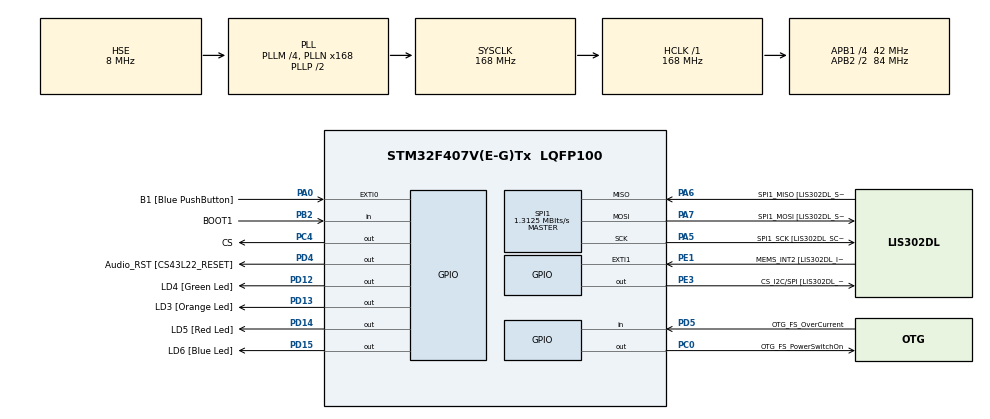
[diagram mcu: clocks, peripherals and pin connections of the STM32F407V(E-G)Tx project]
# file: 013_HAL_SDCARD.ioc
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FATFS._MAX_SS=4096
FATFS._USE_LFN=1
Mcu.Family=STM32F4
Mcu.Name=STM32F407V(E-G)Tx
Mcu.Package=LQFP100
NVIC.PriorityGroup=NVIC_PRIORITYGROUP_0
PA0-WKUP.GPIO_Label=B1 [Blue PushButton]
PA0-WKUP.Signal=GPXTI0
PA10.GPIO_Label=OTG_FS_ID
PA10.GPIO_Mode=GPIO_MODE_AF_PP
PA10.GPIO_PuPd=GPIO_NOPULL
PA10.GPIO_Speed=GPIO_SPEED_FREQ_LOW
PA10.Signal=USB_OTG_FS_ID
PA11.GPIO_Label=OTG_FS_DM
PA11.GPIO_Mode=GPIO_MODE_AF_PP
PA11.GPIO_PuPd=GPIO_NOPULL
PA11.GPIO_Speed=GPIO_SPEED_FREQ_LOW
PA11.Signal=USB_OTG_FS_DM
PA12.GPIO_Label=OTG_FS_DP
PA12.GPIO_Mode=GPIO_MODE_AF_PP
PA12.GPIO_PuPd=GPIO_NOPULL
PA12.GPIO_Speed=GPIO_SPEED_FREQ_LOW
PA12.Signal=USB_OTG_FS_DP
PA13.GPIO_Label=SWDIO
PA13.Mode=Serial_Wire
PA13.Signal=SYS_JTMS-SWDIO
PA14.GPIO_Label=SWCLK
PA14.Mode=Serial_Wire
PA14.Signal=SYS_JTCK-SWCLK
PA4.GPIO_Label=I2S3_WS [CS43L22_LRCK]
PA4.GPIO_Mode=GPIO_MODE_AF_PP
PA4.GPIO_PuPd=GPIO_NOPULL
PA4.GPIO_Speed=GPIO_SPEED_FREQ_LOW
PA4.Signal=I2S3_WS
PA5.GPIO_Label=SPI1_SCK [LIS302DL_SCL/SPC]
PA5.GPIO_Mode=GPIO_MODE_AF_PP
PA5.GPIO_PuPd=GPIO_NOPULL
PA5.GPIO_Speed=GPIO_SPEED_FREQ_LOW
PA5.Mode=Full_Duplex_Master
PA5.Signal=SPI1_SCK
PA6.GPIO_Label=SPI1_MISO [LIS302DL_SDO]
PA6.GPIO_Mode=GPIO_MODE_AF_PP
PA6.GPIO_PuPd=GPIO_NOPULL
PA6.GPIO_Speed=GPIO_SPEED_FREQ_LOW
PA6.Mode=Full_Duplex_Master
PA6.Signal=SPI1_MISO
PA7.GPIO_Label=SPI1_MOSI [LIS302DL_SDA/SDI/SDO]
PA7.GPIO_Mode=GPIO_MODE_AF_PP
PA7.GPIO_PuPd=GPIO_NOPULL
PA7.GPIO_Speed=GPIO_SPEED_FREQ_LOW
PA7.Mode=Full_Duplex_Master
PA7.Signal=SPI1_MOSI
PA9.GPIO_Label=VBUS_FS
PA9.GPIO_Mode=GPIO_MODE_INPUT
PA9.GPIO_PuPd=GPIO_NOPULL
PA9.Signal=USB_OTG_FS_VBUS
PB10.GPIO_Label=CLK_IN [MP45DT02_CLK]
PB10.GPIO_Mode=GPIO_MODE_AF_PP
PB10.GPIO_PuPd=GPIO_NOPULL
PB10.GPIO_Speed=GPIO_SPEED_FREQ_LOW
PB10.Signal=I2S2_CK
PB2.GPIO_Label=BOOT1
PB2.GPIO_Mode=GPIO_MODE_INPUT
PB2.GPIO_PuPd=GPIO_NOPULL
PB2.Signal=GPIO_Input
PB3.GPIO_Label=SWO
PB3.Signal=SYS_JTDO-SWO
PB6.GPIO_Label=Audio_SCL [CS43L22_SCL]
PB6.GPIO_Mode=GPIO_MODE_AF_OD
PB6.GPIO_PuPd=GPIO_NOPULL
PB6.GPIO_Speed=GPIO_SPEED_FREQ_LOW
PB6.Signal=I2C1_SCL
PB9.GPIO_Label=Audio_SDA [CS43L22_SDA]
PB9.GPIO_Mode=GPIO_MODE_AF_OD
PB9.GPIO_PuPd=GPIO_NOPULL
PB9.GPIO_Speed=GPIO_SPEED_FREQ_LOW
PB9.Signal=I2C1_SDA
PC0.GPIO_Label=OTG_FS_PowerSwitchOn
PC0.GPIO_PuPd=GPIO_NOPULL
PC0.GPIO_Speed=GPIO_SPEED_FREQ_LOW
PC0.PinState=GPIO_PIN_SET
PC0.Signal=GPIO_Output
PC10.GPIO_Label=I2S3_SCK [CS43L22_SCLK]
PC10.GPIO_Mode=GPIO_MODE_AF_PP
PC10.GPIO_PuPd=GPIO_NOPULL
PC10.GPIO_Speed=GPIO_SPEED_FREQ_LOW
PC10.Signal=I2S3_CK
PC12.GPIO_Label=I2S3_SD [CS43L22_SDIN]
PC12.GPIO_Mode=GPIO_MODE_AF_PP
PC12.GPIO_PuPd=GPIO_NOPULL
PC12.GPIO_Speed=GPIO_SPEED_FREQ_LOW
PC12.Signal=I2S3_SD
PC14-OSC32_IN.GPIO_Label=PC14-OSC32_IN
PC14-OSC32_IN.Signal=RCC_OSC32_IN
PC15-OSC32_OUT.GPIO_Label=PC15-OSC32_OUT
PC15-OSC32_OUT.Signal=RCC_OSC32_OUT
PC3.GPIO_Label=PDM_OUT [MP45DT02_DOUT]
PC3.GPIO_Mode=GPIO_MODE_AF_PP
PC3.GPIO_PuPd=GPIO_NOPULL
PC3.GPIO_Speed=GPIO_SPEED_FREQ_LOW
PC3.Signal=I2S2_SD
PC4.GPIO_Label=CS
PC4.Signal=GPIO_Output
PC7.GPIO_Label=I2S3_MCK [CS43L22_MCLK]
PC7.GPIO_Mode=GPIO_MODE_AF_PP
PC7.GPIO_PuPd=GPIO_NOPULL
PC7.GPIO_Speed=GPIO_SPEED_FREQ_LOW
PC7.Signal=I2S3_MCK
PD12.GPIO_Label=LD4 [Green Led]
PD12.GPIO_PuPd=GPIO_NOPULL
PD12.GPIO_Speed=GPIO_SPEED_FREQ_LOW
PD12.Signal=GPIO_Output
PD13.GPIO_Label=LD3 [Orange Led]
PD13.GPIO_PuPd=GPIO_NOPULL
PD13.GPIO_Speed=GPIO_SPEED_FREQ_LOW
PD13.Signal=GPIO_Output
PD14.GPIO_Label=LD5 [Red Led]
PD14.GPIO_PuPd=GPIO_NOPULL
PD14.GPIO_Speed=GPIO_SPEED_FREQ_LOW
PD14.Signal=GPIO_Output
PD15.GPIO_Label=LD6 [Blue Led]
PD15.GPIO_PuPd=GPIO_NOPULL
PD15.GPIO_Speed=GPIO_SPEED_FREQ_LOW
PD15.Signal=GPIO_Output
PD4.GPIO_Label=Audio_RST [CS43L22_RESET]
PD4.GPIO_PuPd=GPIO_NOPULL
PD4.GPIO_Speed=GPIO_SPEED_FREQ_LOW
PD4.Signal=GPIO_Output
PD5.GPIO_Label=OTG_FS_OverCurrent
PD5.GPIO_Mode=GPIO_MODE_INPUT
PD5.GPIO_PuPd=GPIO_NOPULL
PD5.Signal=GPIO_Input
PE1.GPIO_Label=MEMS_INT2 [LIS302DL_INT2]
PE1.GPIO_ModeDefaultEXTI=GPIO_MODE_EVT_RISING
PE1.GPIO_PuPd=GPIO_NOPULL
PE1.Signal=GPXTI1
PE3.GPIO_Label=CS_I2C/SPI [LIS302DL_CS_I2C/SPI]
PE3.GPIO_PuPd=GPIO_NOPULL
PE3.GPIO_Speed=GPIO_SPEED_FREQ_LOW
PE3.Signal=GPIO_Output
PH0-OSC_IN.GPIO_Label=PH0-OSC_IN
PH0-OSC_IN.Mode=HSE-External-Oscillator
PH0-OSC_IN.Signal=RCC_OSC_IN
PH1-OSC_OUT.GPIO_Label=PH1-OSC_OUT
PH1-OSC_OUT.Mode=HSE-External-Oscillator
PH1-OSC_OUT.Signal=RCC_OSC_OUT
ProjectManager.HeapSize=0x200
ProjectManager.StackSize=0x400
ProjectManager.TargetToolchain=STM32CubeIDE
RCC.48MHZClocksFreq_Value=48000000
RCC.AHBFreq_Value=168000000
RCC.APB1CLKDivider=RCC_HCLK_DIV4
RCC.APB1Freq_Value=42000000
RCC.APB1TimFreq_Value=84000000
RCC.APB2CLKDivider=RCC_HCLK_DIV2
RCC.APB2Freq_Value=84000000
RCC.APB2TimFreq_Value=168000000
RCC.CortexFreq_Value=168000000
RCC.HCLKFreq_Value=168000000
RCC.HSE_VALUE=8000000
RCC.HSI_VALUE=16000000
RCC.LSE_VALUE=32768
RCC.PLLM=4
RCC.PLLN=168
RCC.PLLQ=7
RCC.PLLSourceVirtual=RCC_PLLSOURCE_HSE
RCC.SYSCLKFreq_VALUE=168000000
RCC.SYSCLKSource=RCC_SYSCLKSOURCE_PLLCLK
RCC.VCOOutputFreq_Value=336000000
SPI1.BaudRatePrescaler=SPI_BAUDRATEPRESCALER_64
SPI1.CalculateBaudRate=1.3125 MBits/s
SPI1.Direction=SPI_DIRECTION_2LINES
SPI1.Mode=SPI_MODE_MASTER
SPI1.VirtualType=VM_MASTER
VP_FATFS_VS_Generic.Mode=User_defined
board=STM32F407G-DISC1

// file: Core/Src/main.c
/* USER CODE BEGIN Header */
/**
  ******************************************************************************
  * @file           : main.c
  * @brief          : Main program body
  ******************************************************************************
  * @attention
  *
  * Copyright (c) 2024 STMicroelectronics.
  * All rights reserved.
  *
  * This software is licensed under terms that can be found in the LICENSE file
  * in the root directory of this software component.
  * If no LICENSE file comes with this software, it is provided AS-IS.
  *
  ******************************************************************************
  */
/* USER CODE END Header */
#include "main.h"
#include "fatfs.h"

/* USER CODE BEGIN Includes */
#include "fatfs_sd.h"
#include "string.h"
/* USER CODE END Includes */

SPI_HandleTypeDef hspi1;

/* USER CODE BEGIN PV */
FATFS fs; //File system
FIL file; //File name
FRESULT fresult;
char buffer[1024];//data storage

UINT br,bw;

FATFS *pfs;
DWORD fre_clust;
uint32_t total,free_Space;

/* USER CODE END PV */

void SystemClock_Config(void);
static void MX_GPIO_Init(void);
static void MX_SPI1_Init(void);

/* USER CODE BEGIN 0 */
int bufferSize(char* buff)
{
	int i=0;
	while(*buff++ != '\0')
		i++;

	return i;
}

void bufferClear(void)
{
	for(int i =0;i<1024;i++)
	buffer[i]='\0';
}
/* USER CODE END 0 */

int main(void)
{

  /* MCU Configuration--------------------------------------------------------*/

  /* Reset of all peripherals, Initializes the Flash interface and the Systick. */
  HAL_Init();

  /* Configure the system clock */
  SystemClock_Config();

  /* Initialize all configured peripherals */
  MX_GPIO_Init();
  MX_SPI1_Init();
  MX_FATFS_Init();
  /* USER CODE BEGIN 2 */
  fResult = f_mount(&fs, "", 0);

  f_getfree("", &fre_clust, &pfs);

  total = (uint32_t)((pfs->n_fatent -2) * pfs->csize * 0.5);

  free_Space = (uint32_t)(fre_clust * pfs->csize * 0.5);

  fresult = f_open(&file, "firstfile.txt", FA_CREATE_ALWAYS | FA_WRITE | FA_READ);

  f_putc("This is a txt record attempt", &file);

  fresult = f_close(&file);
  /* USER CODE END 2 */

  /* Infinite loop */
  while (1)
  {

  }
}

void SystemClock_Config(void)
{
  RCC_OscInitTypeDef RCC_OscInitStruct = {0};
  RCC_ClkInitTypeDef RCC_ClkInitStruct = {0};

  /** Configure the main internal regulator output voltage
  */
  __HAL_RCC_PWR_CLK_ENABLE();
  __HAL_PWR_VOLTAGESCALING_CONFIG(PWR_REGULATOR_VOLTAGE_SCALE1);

  /** Initializes the RCC Oscillators according to the specified parameters
  * in the RCC_OscInitTypeDef structure.
  */
  RCC_OscInitStruct.OscillatorType = RCC_OSCILLATORTYPE_HSE;
  RCC_OscInitStruct.HSEState = RCC_HSE_ON;
  RCC_OscInitStruct.PLL.PLLState = RCC_PLL_ON;
  RCC_OscInitStruct.PLL.PLLSource = RCC_PLLSOURCE_HSE;
  RCC_OscInitStruct.PLL.PLLM = 4;
  RCC_OscInitStruct.PLL.PLLN = 168;
  RCC_OscInitStruct.PLL.PLLP = RCC_PLLP_DIV2;
  RCC_OscInitStruct.PLL.PLLQ = 7;
  if (HAL_RCC_OscConfig(&RCC_OscInitStruct) != HAL_OK)
  {
    Error_Handler();
  }

  /** Initializes the CPU, AHB and APB buses clocks
  */
  RCC_ClkInitStruct.ClockType = RCC_CLOCKTYPE_HCLK|RCC_CLOCKTYPE_SYSCLK
                              |RCC_CLOCKTYPE_PCLK1|RCC_CLOCKTYPE_PCLK2;
  RCC_ClkInitStruct.SYSCLKSource = RCC_SYSCLKSOURCE_PLLCLK;
  RCC_ClkInitStruct.AHBCLKDivider = RCC_SYSCLK_DIV1;
  RCC_ClkInitStruct.APB1CLKDivider = RCC_HCLK_DIV4;
  RCC_ClkInitStruct.APB2CLKDivider = RCC_HCLK_DIV2;

  if (HAL_RCC_ClockConfig(&RCC_ClkInitStruct, FLASH_LATENCY_5) != HAL_OK)
  {
    Error_Handler();
  }
}

static void MX_SPI1_Init(void)
{

  /* SPI1 parameter configuration*/
  hspi1.Instance = SPI1;
  hspi1.Init.Mode = SPI_MODE_MASTER;
  hspi1.Init.Direction = SPI_DIRECTION_2LINES;
  hspi1.Init.DataSize = SPI_DATASIZE_8BIT;
  hspi1.Init.CLKPolarity = SPI_POLARITY_LOW;
  hspi1.Init.CLKPhase = SPI_PHASE_1EDGE;
  hspi1.Init.NSS = SPI_NSS_SOFT;
  hspi1.Init.BaudRatePrescaler = SPI_BAUDRATEPRESCALER_64;
  hspi1.Init.FirstBit = SPI_FIRSTBIT_MSB;
  hspi1.Init.TIMode = SPI_TIMODE_DISABLE;
  hspi1.Init.CRCCalculation = SPI_CRCCALCULATION_DISABLE;
  hspi1.Init.CRCPolynomial = 10;
  if (HAL_SPI_Init(&hspi1) != HAL_OK)
  {
    Error_Handler();
  }

}

static void MX_GPIO_Init(void)
{
  GPIO_InitTypeDef GPIO_InitStruct = {0};

  /* GPIO Ports Clock Enable */
  __HAL_RCC_GPIOE_CLK_ENABLE();
  __HAL_RCC_GPIOC_CLK_ENABLE();
  __HAL_RCC_GPIOH_CLK_ENABLE();
  __HAL_RCC_GPIOA_CLK_ENABLE();
  __HAL_RCC_GPIOB_CLK_ENABLE();
  __HAL_RCC_GPIOD_CLK_ENABLE();

  /*Configure GPIO pin Output Level */
  HAL_GPIO_WritePin(CS_I2C_SPI_GPIO_Port, CS_I2C_SPI_Pin, GPIO_PIN_RESET);

  /*Configure GPIO pin Output Level */
  HAL_GPIO_WritePin(OTG_FS_PowerSwitchOn_GPIO_Port, OTG_FS_PowerSwitchOn_Pin, GPIO_PIN_SET);

  /*Configure GPIO pin Output Level */
  HAL_GPIO_WritePin(CS_GPIO_Port, CS_Pin, GPIO_PIN_RESET);

  /*Configure GPIO pin Output Level */
  HAL_GPIO_WritePin(GPIOD, LD4_Pin|LD3_Pin|LD5_Pin|LD6_Pin
                          |Audio_RST_Pin, GPIO_PIN_RESET);

  /*Configure GPIO pin : CS_I2C_SPI_Pin */
  GPIO_InitStruct.Pin = CS_I2C_SPI_Pin;
  GPIO_InitStruct.Mode = GPIO_MODE_OUTPUT_PP;
  GPIO_InitStruct.Pull = GPIO_NOPULL;
  GPIO_InitStruct.Speed = GPIO_SPEED_FREQ_LOW;
  HAL_GPIO_Init(CS_I2C_SPI_GPIO_Port, &GPIO_InitStruct);

  /*Configure GPIO pins : OTG_FS_PowerSwitchOn_Pin CS_Pin */
  GPIO_InitStruct.Pin = OTG_FS_PowerSwitchOn_Pin|CS_Pin;
  GPIO_InitStruct.Mode = GPIO_MODE_OUTPUT_PP;
  GPIO_InitStruct.Pull = GPIO_NOPULL;
  GPIO_InitStruct.Speed = GPIO_SPEED_FREQ_LOW;
  HAL_GPIO_Init(GPIOC, &GPIO_InitStruct);

  /*Configure GPIO pin : PDM_OUT_Pin */
  GPIO_InitStruct.Pin = PDM_OUT_Pin;
  GPIO_InitStruct.Mode = GPIO_MODE_AF_PP;
  GPIO_InitStruct.Pull = GPIO_NOPULL;
  GPIO_InitStruct.Speed = GPIO_SPEED_FREQ_LOW;
  GPIO_InitStruct.Alternate = GPIO_AF5_SPI2;
  HAL_GPIO_Init(PDM_OUT_GPIO_Port, &GPIO_InitStruct);

  /*Configure GPIO pin : B1_Pin */
  GPIO_InitStruct.Pin = B1_Pin;
  GPIO_InitStruct.Mode = GPIO_MODE_IT_RISING;
  GPIO_InitStruct.Pull = GPIO_NOPULL;
  HAL_GPIO_Init(B1_GPIO_Port, &GPIO_InitStruct);

  /*Configure GPIO pin : I2S3_WS_Pin */
  GPIO_InitStruct.Pin = I2S3_WS_Pin;
  GPIO_InitStruct.Mode = GPIO_MODE_AF_PP;
  GPIO_InitStruct.Pull = GPIO_NOPULL;
  GPIO_InitStruct.Speed = GPIO_SPEED_FREQ_LOW;
  GPIO_InitStruct.Alternate = GPIO_AF6_SPI3;
  HAL_GPIO_Init(I2S3_WS_GPIO_Port, &GPIO_InitStruct);

  /*Configure GPIO pin : BOOT1_Pin */
  GPIO_InitStruct.Pin = BOOT1_Pin;
  GPIO_InitStruct.Mode = GPIO_MODE_INPUT;
  GPIO_InitStruct.Pull = GPIO_NOPULL;
  HAL_GPIO_Init(BOOT1_GPIO_Port, &GPIO_InitStruct);

  /*Configure GPIO pin : CLK_IN_Pin */
  GPIO_InitStruct.Pin = CLK_IN_Pin;
  GPIO_InitStruct.Mode = GPIO_MODE_AF_PP;
  GPIO_InitStruct.Pull = GPIO_NOPULL;
  GPIO_InitStruct.Speed = GPIO_SPEED_FREQ_LOW;
  GPIO_InitStruct.Alternate = GPIO_AF5_SPI2;
  HAL_GPIO_Init(CLK_IN_GPIO_Port, &GPIO_InitStruct);

  /*Configure GPIO pins : LD4_Pin LD3_Pin LD5_Pin LD6_Pin
                           Audio_RST_Pin */
  GPIO_InitStruct.Pin = LD4_Pin|LD3_Pin|LD5_Pin|LD6_Pin
                          |Audio_RST_Pin;
  GPIO_InitStruct.Mode = GPIO_MODE_OUTPUT_PP;
  GPIO_InitStruct.Pull = GPIO_NOPULL;
  GPIO_InitStruct.Speed = GPIO_SPEED_FREQ_LOW;
  HAL_GPIO_Init(GPIOD, &GPIO_InitStruct);

  /*Configure GPIO pins : I2S3_MCK_Pin I2S3_SCK_Pin I2S3_SD_Pin */
  GPIO_InitStruct.Pin = I2S3_MCK_Pin|I2S3_SCK_Pin|I2S3_SD_Pin;
  GPIO_InitStruct.Mode = GPIO_MODE_AF_PP;
  GPIO_InitStruct.Pull = GPIO_NOPULL;
  GPIO_InitStruct.Speed = GPIO_SPEED_FREQ_LOW;
  GPIO_InitStruct.Alternate = GPIO_AF6_SPI3;
  HAL_GPIO_Init(GPIOC, &GPIO_InitStruct);

  /*Configure GPIO pin : VBUS_FS_Pin */
  GPIO_InitStruct.Pin = VBUS_FS_Pin;
  GPIO_InitStruct.Mode = GPIO_MODE_INPUT;
  GPIO_InitStruct.Pull = GPIO_NOPULL;
  HAL_GPIO_Init(VBUS_FS_GPIO_Port, &GPIO_InitStruct);

  /*Configure GPIO pins : OTG_FS_ID_Pin OTG_FS_DM_Pin OTG_FS_DP_Pin */
  GPIO_InitStruct.Pin = OTG_FS_ID_Pin|OTG_FS_DM_Pin|OTG_FS_DP_Pin;
  GPIO_InitStruct.Mode = GPIO_MODE_AF_PP;
  GPIO_InitStruct.Pull = GPIO_NOPULL;
  GPIO_InitStruct.Speed = GPIO_SPEED_FREQ_LOW;
  GPIO_InitStruct.Alternate = GPIO_AF10_OTG_FS;
  HAL_GPIO_Init(GPIOA, &GPIO_InitStruct);

  /*Configure GPIO pin : OTG_FS_OverCurrent_Pin */
  GPIO_InitStruct.Pin = OTG_FS_OverCurrent_Pin;
  GPIO_InitStruct.Mode = GPIO_MODE_INPUT;
  GPIO_InitStruct.Pull = GPIO_NOPULL;
  HAL_GPIO_Init(OTG_FS_OverCurrent_GPIO_Port, &GPIO_InitStruct);

  /*Configure GPIO pins : Audio_SCL_Pin Audio_SDA_Pin */
  GPIO_InitStruct.Pin = Audio_SCL_Pin|Audio_SDA_Pin;
  GPIO_InitStruct.Mode = GPIO_MODE_AF_OD;
  GPIO_InitStruct.Pull = GPIO_NOPULL;
  GPIO_InitStruct.Speed = GPIO_SPEED_FREQ_LOW;
  GPIO_InitStruct.Alternate = GPIO_AF4_I2C1;
  HAL_GPIO_Init(GPIOB, &GPIO_InitStruct);

  /*Configure GPIO pin : MEMS_INT2_Pin */
  GPIO_InitStruct.Pin = MEMS_INT2_Pin;
  GPIO_InitStruct.Mode = GPIO_MODE_EVT_RISING;
  GPIO_InitStruct.Pull = GPIO_NOPULL;
  HAL_GPIO_Init(MEMS_INT2_GPIO_Port, &GPIO_InitStruct);

}

void Error_Handler(void)
{
  __disable_irq();
  while (1)
  {
  }
}
